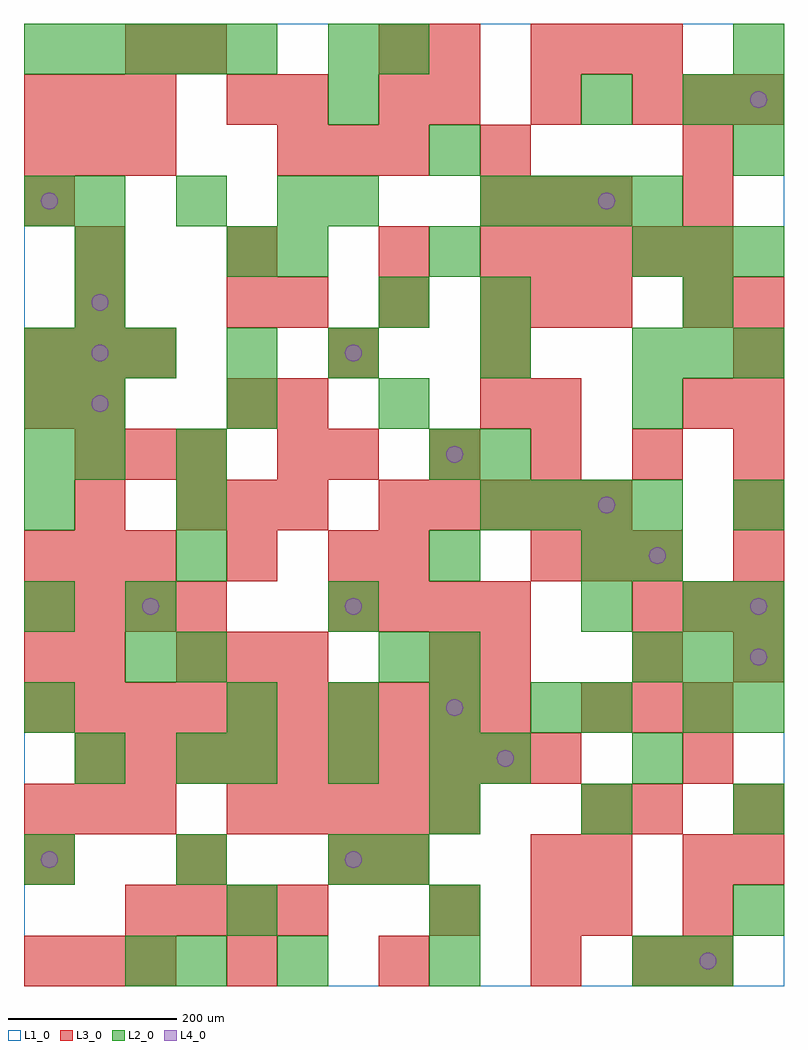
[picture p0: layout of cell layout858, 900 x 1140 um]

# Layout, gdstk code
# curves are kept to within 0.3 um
import gdstk
lib = gdstk.Library(unit=1e-6, precision=1e-09)
def R(c, l, rs):  # rectangles x0, y0, x1, y1
    for r in rs: c.add(gdstk.rectangle(r[:2], r[2:], *l))
def A(c, l, x, y, w, h, nx, ny, dx, dy):  # array of equal rectangles
    R(c, l, [(x+i*dx, y+j*dy, x+i*dx+w, y+j*dy+h) for i in range(nx) for j in range(ny)])
def P(c, l, *ps):  # polygons
    for p in ps: c.add(gdstk.Polygon(p, *l))
L1_0 = (1, 0)
L2_0 = (2, 0)
L3_0 = (3, 0)
L4_0 = (4, 0)

layout858 = lib.new_cell('layout858')
R(layout858, L1_0, [(0,0,900,1140)])
A(layout858, L2_0, 720, 0, 60, 60, 1, 3, 0, 240)
A(layout858, L2_0, 0, 120, 60, 60, 3, 1, 180, 0)
A(layout858, L2_0, 480, 180, 60, 60, 3, 1, 180, 0)
A(layout858, L2_0, 180, 240, 60, 60, 1, 3, 0, 120)
A(layout858, L2_0, 240, 240, 60, 60, 3, 1, 120, 0)
A(layout858, L2_0, 0, 300, 60, 60, 1, 3, 0, 120)
A(layout858, L2_0, 240, 300, 60, 60, 4, 1, 120, 0)
A(layout858, L2_0, 840, 300, 60, 60, 1, 3, 0, 120)
A(layout858, L2_0, 480, 360, 60, 60, 1, 3, 0, 120)
A(layout858, L2_0, 720, 360, 60, 60, 3, 2, 60, 480)
A(layout858, L2_0, 540, 540, 60, 60, 4, 2, 60, 360)
A(layout858, L2_0, 60, 660, 60, 60, 3, 1, 180, 0)
A(layout858, L2_0, 0, 720, 60, 60, 3, 1, 60, 0)
A(layout858, L2_0, 360, 720, 60, 60, 3, 1, 180, 0)
A(layout858, L2_0, 60, 900, 60, 60, 3, 1, 120, 0)
A(layout858, L2_0, 840, 960, 60, 60, 1, 3, 0, 60)
A(layout858, L2_0, 0, 1080, 60, 60, 5, 1, 60, 0)
R(layout858, L2_0, [(120,0,180,60), (180,0,240,60), (300,0,360,60), (480,0,540,60), (780,0,840,60), (240,60,300,120), (480,60,540,120), (840,60,900,120), (420,120,480,180), (60,240,120,300), (540,240,600,300), (660,300,720,360), (780,300,840,360), (120,360,180,420), (420,360,480,420), (120,420,180,480), (360,420,420,480), (660,420,720,480), (780,420,840,480), (660,480,720,540), (180,540,240,600), (0,600,60,660), (60,600,120,660), (180,600,240,660), (540,600,600,660), (0,660,60,720), (720,660,780,720), (240,720,300,780), (780,720,840,780), (840,720,900,780), (60,780,120,840), (420,780,480,840), (540,780,600,840), (780,780,840,840), (60,840,120,900), (240,840,300,900), (300,840,360,900), (480,840,540,900), (0,900,60,960), (360,900,420,960), (480,960,540,1020), (360,1020,420,1080), (660,1020,720,1080), (780,1020,840,1080), (360,1080,420,1140), (420,1080,480,1140)])
A(layout858, L3_0, 0, 0, 60, 60, 3, 2, 60, 180)
A(layout858, L3_0, 240, 0, 60, 60, 3, 1, 180, 0)
A(layout858, L3_0, 720, 0, 60, 60, 1, 3, 0, 180)
A(layout858, L3_0, 780, 0, 60, 60, 1, 3, 0, 60)
A(layout858, L3_0, 120, 60, 60, 60, 4, 1, 60, 0)
A(layout858, L3_0, 660, 60, 60, 60, 1, 3, 0, 60)
A(layout858, L3_0, 0, 120, 60, 60, 3, 1, 180, 0)
A(layout858, L3_0, 240, 180, 60, 60, 5, 1, 60, 0)
A(layout858, L3_0, 60, 240, 60, 60, 10, 1, 60, 0)
A(layout858, L3_0, 0, 300, 60, 60, 10, 1, 60, 0)
A(layout858, L3_0, 660, 300, 60, 60, 3, 1, 60, 0)
A(layout858, L3_0, 180, 360, 60, 60, 3, 2, 60, 180)
A(layout858, L3_0, 0, 420, 60, 60, 4, 1, 60, 0)
A(layout858, L3_0, 360, 420, 60, 60, 4, 1, 60, 0)
A(layout858, L3_0, 720, 420, 60, 60, 3, 1, 60, 0)
A(layout858, L3_0, 0, 480, 60, 60, 3, 3, 60, 240)
A(layout858, L3_0, 600, 480, 60, 60, 3, 2, 60, 600)
A(layout858, L3_0, 60, 540, 60, 60, 1, 3, 0, 120)
A(layout858, L3_0, 420, 540, 60, 60, 5, 1, 60, 0)
A(layout858, L3_0, 60, 600, 60, 60, 3, 1, 60, 0)
A(layout858, L3_0, 360, 600, 60, 60, 5, 1, 120, 0)
A(layout858, L3_0, 780, 660, 60, 60, 1, 3, 0, 120)
A(layout858, L3_0, 840, 660, 60, 60, 1, 3, 0, 60)
A(layout858, L3_0, 300, 780, 60, 60, 3, 1, 120, 0)
A(layout858, L3_0, 60, 840, 60, 60, 3, 1, 180, 0)
A(layout858, L3_0, 540, 840, 60, 60, 5, 1, 60, 0)
A(layout858, L3_0, 540, 900, 60, 60, 3, 1, 60, 0)
A(layout858, L3_0, 300, 960, 60, 60, 3, 1, 60, 0)
A(layout858, L3_0, 0, 1020, 60, 60, 3, 1, 60, 0)
A(layout858, L3_0, 480, 1020, 60, 60, 3, 1, 120, 0)
R(layout858, L3_0, [(480,60,540,120), (600,60,660,120), (420,120,480,180), (600,120,660,180), (840,120,900,180), (840,180,900,240), (780,240,840,300), (0,360,60,420), (60,360,120,420), (480,360,540,420), (540,360,600,420), (840,360,900,420), (240,480,300,540), (360,480,420,540), (420,480,480,540), (840,480,900,540), (840,540,900,600), (300,600,360,660), (0,660,60,720), (240,660,300,720), (300,660,360,720), (540,660,600,720), (600,660,660,720), (360,720,420,780), (540,720,600,780), (240,780,300,840), (600,780,660,840), (660,780,720,840), (0,900,60,960), (540,960,600,1020), (780,960,840,1020), (240,1020,300,1080), (300,1020,360,1080), (420,1020,480,1080), (780,1020,840,1080), (840,1020,900,1080), (120,1080,180,1140), (180,1080,240,1140), (420,1080,480,1140), (480,1080,540,1140)])
P(layout858, L4_0, [(40,150),(39.239,153.827),(37.071,157.071),(33.827,159.239),(30,160),(26.173,159.239),(22.929,157.071),(20.761,153.827),(20,150),(20.761,146.173),(22.929,142.929),(26.173,140.761),(30,140),(33.827,140.761),(37.071,142.929),(39.239,146.173)],
  [(40,930),(39.239,933.827),(37.071,937.071),(33.827,939.239),(30,940),(26.173,939.239),(22.929,937.071),(20.761,933.827),(20,930),(20.761,926.173),(22.929,922.929),(26.173,920.761),(30,920),(33.827,920.761),(37.071,922.929),(39.239,926.173)],
  [(100,690),(99.239,693.827),(97.071,697.071),(93.827,699.239),(90,700),(86.173,699.239),(82.929,697.071),(80.761,693.827),(80,690),(80.761,686.173),(82.929,682.929),(86.173,680.761),(90,680),(93.827,680.761),(97.071,682.929),(99.239,686.173)],
  [(100,750),(99.239,753.827),(97.071,757.071),(93.827,759.239),(90,760),(86.173,759.239),(82.929,757.071),(80.761,753.827),(80,750),(80.761,746.173),(82.929,742.929),(86.173,740.761),(90,740),(93.827,740.761),(97.071,742.929),(99.239,746.173)],
  [(100,810),(99.239,813.827),(97.071,817.071),(93.827,819.239),(90,820),(86.173,819.239),(82.929,817.071),(80.761,813.827),(80,810),(80.761,806.173),(82.929,802.929),(86.173,800.761),(90,800),(93.827,800.761),(97.071,802.929),(99.239,806.173)],
  [(160,450),(159.239,453.827),(157.071,457.071),(153.827,459.239),(150,460),(146.173,459.239),(142.929,457.071),(140.761,453.827),(140,450),(140.761,446.173),(142.929,442.929),(146.173,440.761),(150,440),(153.827,440.761),(157.071,442.929),(159.239,446.173)],
  [(400,150),(399.239,153.827),(397.071,157.071),(393.827,159.239),(390,160),(386.173,159.239),(382.929,157.071),(380.761,153.827),(380,150),(380.761,146.173),(382.929,142.929),(386.173,140.761),(390,140),(393.827,140.761),(397.071,142.929),(399.239,146.173)],
  [(400,450),(399.239,453.827),(397.071,457.071),(393.827,459.239),(390,460),(386.173,459.239),(382.929,457.071),(380.761,453.827),(380,450),(380.761,446.173),(382.929,442.929),(386.173,440.761),(390,440),(393.827,440.761),(397.071,442.929),(399.239,446.173)],
  [(400,750),(399.239,753.827),(397.071,757.071),(393.827,759.239),(390,760),(386.173,759.239),(382.929,757.071),(380.761,753.827),(380,750),(380.761,746.173),(382.929,742.929),(386.173,740.761),(390,740),(393.827,740.761),(397.071,742.929),(399.239,746.173)],
  [(520,330),(519.239,333.827),(517.071,337.071),(513.827,339.239),(510,340),(506.173,339.239),(502.929,337.071),(500.761,333.827),(500,330),(500.761,326.173),(502.929,322.929),(506.173,320.761),(510,320),(513.827,320.761),(517.071,322.929),(519.239,326.173)],
  [(520,630),(519.239,633.827),(517.071,637.071),(513.827,639.239),(510,640),(506.173,639.239),(502.929,637.071),(500.761,633.827),(500,630),(500.761,626.173),(502.929,622.929),(506.173,620.761),(510,620),(513.827,620.761),(517.071,622.929),(519.239,626.173)],
  [(580,270),(579.239,273.827),(577.071,277.071),(573.827,279.239),(570,280),(566.173,279.239),(562.929,277.071),(560.761,273.827),(560,270),(560.761,266.173),(562.929,262.929),(566.173,260.761),(570,260),(573.827,260.761),(577.071,262.929),(579.239,266.173)],
  [(700,570),(699.239,573.827),(697.071,577.071),(693.827,579.239),(690,580),(686.173,579.239),(682.929,577.071),(680.761,573.827),(680,570),(680.761,566.173),(682.929,562.929),(686.173,560.761),(690,560),(693.827,560.761),(697.071,562.929),(699.239,566.173)],
  [(700,930),(699.239,933.827),(697.071,937.071),(693.827,939.239),(690,940),(686.173,939.239),(682.929,937.071),(680.761,933.827),(680,930),(680.761,926.173),(682.929,922.929),(686.173,920.761),(690,920),(693.827,920.761),(697.071,922.929),(699.239,926.173)],
  [(760,510),(759.239,513.827),(757.071,517.071),(753.827,519.239),(750,520),(746.173,519.239),(742.929,517.071),(740.761,513.827),(740,510),(740.761,506.173),(742.929,502.929),(746.173,500.761),(750,500),(753.827,500.761),(757.071,502.929),(759.239,506.173)],
  [(820,30),(819.239,33.827),(817.071,37.071),(813.827,39.239),(810,40),(806.173,39.239),(802.929,37.071),(800.761,33.827),(800,30),(800.761,26.173),(802.929,22.929),(806.173,20.761),(810,20),(813.827,20.761),(817.071,22.929),(819.239,26.173)],
  [(880,390),(879.239,393.827),(877.071,397.071),(873.827,399.239),(870,400),(866.173,399.239),(862.929,397.071),(860.761,393.827),(860,390),(860.761,386.173),(862.929,382.929),(866.173,380.761),(870,380),(873.827,380.761),(877.071,382.929),(879.239,386.173)],
  [(880,450),(879.239,453.827),(877.071,457.071),(873.827,459.239),(870,460),(866.173,459.239),(862.929,457.071),(860.761,453.827),(860,450),(860.761,446.173),(862.929,442.929),(866.173,440.761),(870,440),(873.827,440.761),(877.071,442.929),(879.239,446.173)],
  [(880,1050),(879.239,1053.827),(877.071,1057.071),(873.827,1059.239),(870,1060),(866.173,1059.239),(862.929,1057.071),(860.761,1053.827),(860,1050),(860.761,1046.173),(862.929,1042.929),(866.173,1040.761),(870,1040),(873.827,1040.761),(877.071,1042.929),(879.239,1046.173)])

lib.write_gds('layout858.gds')
